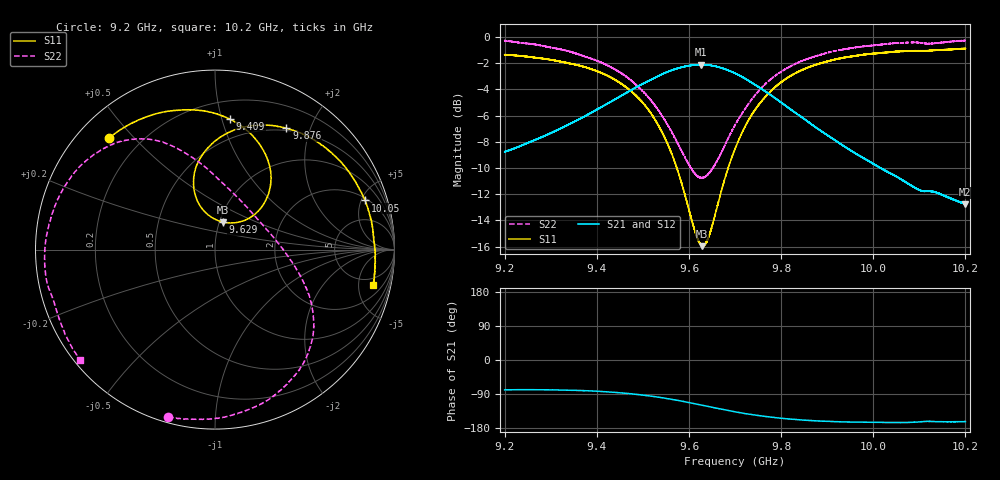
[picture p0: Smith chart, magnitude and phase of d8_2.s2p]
!Agilent Technologies,N5242A,MY51221714,A.09.90.19
!Agilent N5242A: A.09.90.19
!Date: Tuesday, March 26, 2024 16:23:39
!Correction: S11(Full 2 Port(1,2))
!S21(Full 2 Port(1,2))
!S12(Full 2 Port(1,2))
!S22(Full 2 Port(1,2))
!S2P File: Measurements: S11, S21, S12, S22:
# Hz S  dB  R 50
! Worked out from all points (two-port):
!   16001 points, 9.2 GHz to 10.2 GHz, reference 50 ohm
!   highest |S21| = -2.10 dB at 9.626 GHz (marker M1); lowest = -12.8 dB at 10.2 GHz (marker M2)
!   |S21| within 3 dB of the highest: 9.422 GHz to 9.804 GHz (381.9 MHz wide, 3.97 % of centre); 9.80435 GHz to 9.80446 GHz (110.5 kHz wide, 0.00113 % of centre)
!   lowest |S11| = -16.0 dB at 9.628 GHz (marker M3), VSWR 1.38, Z = 52.3 + j16.3 ohm
!   |S11| at or under -10 dB: 9.573603 GHz to 9.573875 GHz (271.8 kHz wide, 0.00284 % of centre); 9.574 GHz to 9.685 GHz (111.1 MHz wide, 1.15 % of centre); 9.685074 GHz to 9.6852 GHz (126.1 kHz wide, 0.0013 % of centre)
!   |S22| runs from -10.8 to -0.3 dB; largest |S21 - S12| = 0.01
!   S11 on the Smith chart (normalised r, x): 9.2 GHz: 0.09, +0.43; 9.409 GHz: 0.34, +1.06; 9.629 GHz: 1.03, +0.33; 9.876 GHz: 0.47, +1.65; 10.05 GHz: 2.22, +5.38; 10.2 GHz: 3.37, -7.44
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9.2e9  -1.35 133.6  -8.77 -78.8  -8.75 -79.5  -0.27 -105.6
9.278812e9  -1.62 115.8  -7.66 -78.6  -7.65 -79.1  -0.65 -84.5
9.366688e9  -2.21 94.6  -6.19 -80.7  -6.17 -81.3  -1.40 -62.4
9.408875e9  -2.71 83.4  -5.36 -83.1  -5.36 -83.7  -1.92 -52.0
9.48e9  -4.30 63.3  -3.94 -89.9  -3.95 -90.5  -3.47 -35.1
9.533375e9  -6.74 48.3  -2.98 -98.0  -2.97 -98.6  -5.56 -20.2
9.58475e9  -11.24 41.9  -2.30 -108.6  -2.29 -109.3  -8.78 3.1
9.6255e9  -15.82 69.5  -2.10 -118.6  -2.10 -119.1  -10.74 39.4
9.628125e9  -15.97 73.1  -2.11 -119.2  -2.11 -119.7  -10.75 42.4
9.629312e9  -15.94 74.8  -2.11 -119.5  -2.11 -120.1  -10.75 43.7
9.644375e9  -15.08 93.6  -2.15 -123.3  -2.14 -123.9  -10.37 59.4
9.7e9  -8.57 108.5  -2.76 -136.7  -2.75 -137.2  -6.72 96.5
9.737938e9  -5.84 99.8  -3.52 -144.4  -3.50 -144.9  -4.68 108.8
9.787375e9  -3.81 85.0  -4.67 -152.0  -4.68 -152.7  -2.95 120.4
9.866688e9  -2.22 62.1  -6.68 -159.9  -6.67 -160.4  -1.55 137.5
9.8755e9  -2.12 59.5  -6.90 -160.5  -6.89 -161.0  -1.45 139.5
9.960562e9  -1.44 38.1  -8.87 -164.0  -8.85 -164.4  -0.81 158.9
1.003338e10  -1.16 21.3  -10.35 -164.9  -10.34 -165.4  -0.51 176.4
1.004719e10  -1.11 18.1  -10.60 -164.9  -10.60 -165.4  -0.47 179.7
1.01005e10  -1.05 6.8  -11.68 -163.3  -11.69 -163.8  -0.43 -167.5
1.019988e10  -0.89 -12.8  -12.78 -162.6  -12.77 -163.1  -0.26 -140.7
1.02e10  -0.87 -12.8  -12.76 -162.5  -12.76 -163.1  -0.27 -140.7
